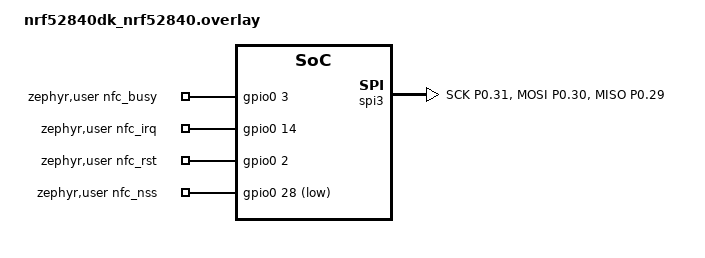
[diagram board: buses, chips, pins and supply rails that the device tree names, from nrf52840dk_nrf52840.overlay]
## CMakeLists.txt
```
cmake_minimum_required(VERSION 3.20.0)
find_package(Zephyr REQUIRED HINTS $ENV{ZEPHYR_BASE})

project(pn5180)

# Add source files
target_sources(app PRIVATE
    src/main.c
    src/pn5180.c
    include/pn5180.h
)

# Add include directory for headers
target_include_directories(app PRIVATE
    ${CMAKE_CURRENT_SOURCE_DIR}/include
)
```

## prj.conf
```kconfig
# SPI Configuration
CONFIG_SPI=y

# GPIO Configuration
CONFIG_GPIO=y

# Logging
CONFIG_LOG=y
CONFIG_SHELL=y
CONFIG_LOG_DEFAULT_LEVEL=3

# Enable button for testing

CONFIG_SPI_ASYNC=y

CONFIG_SPI_SLAVE=y
```

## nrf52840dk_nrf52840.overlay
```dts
&pinctrl {
	spi_master_default: spi_master_default {
		group1 {
			psels = <NRF_PSEL(SPIM_SCK, 0, 31)>,
					<NRF_PSEL(SPIM_MOSI, 0, 30)>,
					<NRF_PSEL(SPIM_MISO, 0, 29)>;
		};
	};

	spi_master_sleep: spi_master_sleep {
		group1 {
			psels = <NRF_PSEL(SPIM_SCK, 0, 31)>,
					<NRF_PSEL(SPIM_MOSI, 0, 30)>,
					<NRF_PSEL(SPIM_MISO, 0, 29)>;
			low-power-enable;
		};
	};

};

my_spi_master: &spi3 {
	compatible = "nordic,nrf-spim";
	status = "okay";
	pinctrl-0 = <&spi_master_default>;
	pinctrl-1 = <&spi_master_sleep>;
	pinctrl-names = "default", "sleep";
	// reg_my_spi_master: spi-dev-a@0 {
	// 	reg = <0>;
    //     status = "okay";
	// };
};



// By default uart1 will occupy P1.01 and P1.02. In order to make these pins available, disable uart1
&uart1 {
	status="disabled";
};
/ {
	zephyr,user {
		nfc_busy-gpios = <&gpio0 3 GPIO_ACTIVE_HIGH>;
		nfc_irq-gpios = <&gpio0 14 GPIO_ACTIVE_HIGH>;
		nfc_rst-gpios = <&gpio0 2 GPIO_ACTIVE_HIGH>;
		nfc_nss-gpios = <&gpio0 28 GPIO_ACTIVE_LOW>;

	}; 
};
	
```

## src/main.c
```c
#include "pn5180.h"
#include <zephyr/kernel.h>
#include <zephyr/logging/log.h>

LOG_MODULE_REGISTER(main, LOG_LEVEL_INF);

int main(void) {
  LOG_INF("PN5180 ISO15693 Inventory Test Starting...");

  /* 1. Initialize PN5180 GPIO + SPI */
  pn5180_init();

  /* 2. Optional: run GPIO test pattern to verify pins */

  /* 3. Prepare buffer for tag UID */
  uint8_t uid[8] = {0};

  /* 4. Perform ISO15693 inventory */

  LOG_INF("PN5180 ISO15693 test complete.");

  /* 6. Heartbeat loop */
  while (1) {
    // k_msleep(1000);
    if (pn5180_get_inventory(uid)) {
      LOG_INF("Tag detected! UID:");
      LOG_HEXDUMP_INF(uid, sizeof(uid), "UID");
    } else {
      LOG_WRN("No tag detected.");
    }
  }
}
```

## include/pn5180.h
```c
#ifndef PN5180_H
#define PN5180_H

#include <zephyr/device.h>
#include <zephyr/drivers/gpio.h>
#include <zephyr/drivers/spi.h>
#include <zephyr/kernel.h>

#define PN5180_COMMAND_TIMEOUT_MS 800

// PN5180 Commands
// PN5180 defines
// See https://www.nxp.com/docs/en/data-sheet/PN5180A0XX-C1-C2.pdf
// 11.4.3.3 Host Interface Command List
#define PN5180_WRITE_REGISTER (0x00)
#define PN5180_WRITE_REGISTER_OR_MASK (0x01)
#define PN5180_WRITE_REGISTER_AND_MASK (0x02)
#define PN5180_READ_REGISTER (0x04)
#define PN5180_WRITE_EEPROM (0x06)
#define PN5180_READ_EEPROM (0x07)
#define PN5180_SEND_DATA (0x09)
#define PN5180_READ_DATA (0x0A)
#define PN5180_LOAD_RF_CONFIG (0x11)
#define PN5180_RF_ON (0x16)
#define PN5180_RF_OFF (0x17)
// 11.9.1, Table 73 PN5180 Register Address Overview
#define SYSTEM_CONFIG (0x00)
#define IRQ_ENABLE (0x01)
#define IRQ_STATUS (0x02)
#define IRQ_CLEAR (0x03)
#define RX_STATUS (0x13)
#define TX_WAIT_CONFIG (0x17)
#define TX_CONFIG (0x18)
// 11.9.1, Table 76 IRQ_STATUS Register
#define RX_IRQ_STAT (1 << 0)        // End of RF reception IRQ
#define TX_IRQ_STAT (1 << 1)        // End of RF transmission IRQ
#define IDLE_IRQ_STAT (1 << 2)      // Idle IRQ
#define RFOFF_DET_IRQ_STAT (1 << 6) // RF Field OFF detection IRQ
#define RFON_DET_IRQ_STAT (1 << 7)  // RF Field ON detection IRQ
#define TX_RFOFF_IRQ_STAT (1 << 8)  // RF Field OFF in PCD IRQ
#define TX_RFON_IRQ_STAT (1 << 9)   // RF Field ON in PCD IRQ
// 11.9.1 Table 92 RX_STATUS Register
#define RX_COLL_POS                                                            \
  (1 << 19) // These bits show the bit position of the first detected collision
            // in a received frame (7 bits)
#define RX_COLLISION_DETECTED                                                  \
  (1 << 18) // This flag is set to 1, when a collision has occurred
// 11.9.1 Table 97 TX_CONFIG Register
#define TX_DATA_ENABLE                                                         \
  (1 << 10) // If set to 1, transmission of data is enabled otherwise only
            // symbols are transmitted.
#define MAX_RX_LENGTH 508
// The PN5180 receive buffer can hold a max of 508 bytes
// But we only need to transfer 2 bytes + 8 bytes per tag = 10 bytes for a
// single card
#ifndef READ_BUFFER_SIZE
#define READ_BUFFER_SIZE 10
#endif

struct pn5180_cfg {
  const struct device *spi_dev;
  struct spi_config spi_cfg;
  const struct gpio_dt_spec irq;
  const struct gpio_dt_spec rst;
  const struct gpio_dt_spec busy;
  const struct gpio_dt_spec nss;
};

/* Public function prototypes */
int pn5180_gpio_init(void);
#endif
```

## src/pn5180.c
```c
#include "pn5180.h"
#include <zephyr/device.h>
#include <zephyr/drivers/gpio.h>
#include <zephyr/drivers/spi.h>
#include <zephyr/kernel.h>
#include <zephyr/logging/log.h>

LOG_MODULE_REGISTER(pn5180, LOG_LEVEL_INF);

#define MY_SPI_MASTER DT_NODELABEL(my_spi_master)
#define ZEPHYR_USER_NODE DT_PATH(zephyr_user)

static struct spi_cs_control pn5180_cs = {
    .gpio = GPIO_DT_SPEC_GET(ZEPHYR_USER_NODE, nfc_nss_gpios),
    .delay = 5,
};

static struct pn5180_cfg nfc_dev = {
    .spi_dev = DEVICE_DT_GET(MY_SPI_MASTER),
    .spi_cfg =
        {
            .operation = SPI_WORD_SET(8) | SPI_TRANSFER_MSB, // Mode 0
            .frequency = 4000000,
            .slave = 0,
            .cs = NULL, // manual CS
        },
    .irq = GPIO_DT_SPEC_GET(ZEPHYR_USER_NODE, nfc_irq_gpios),
    .rst = GPIO_DT_SPEC_GET(ZEPHYR_USER_NODE, nfc_rst_gpios),
    .busy = GPIO_DT_SPEC_GET(ZEPHYR_USER_NODE, nfc_busy_gpios),
};

// Assert CS
static inline void cs_low(void) { gpio_pin_set_dt(&pn5180_cs.gpio, 1); }
// Deassert CS
static inline void cs_high(void) { gpio_pin_set_dt(&pn5180_cs.gpio, 0); }

void pn5180_reset(void) {
  gpio_pin_set_dt(&nfc_dev.rst, 0); //  LOW
  k_msleep(10);
  gpio_pin_set_dt(&nfc_dev.rst, 1); //  HIGH
  k_msleep(50);
}

void pn5180_init(void) {
  // SPI device check
  if (!device_is_ready(nfc_dev.spi_dev)) {
    LOG_ERR("SPI device not ready");
    return;
  }

  // Configure CS
  if (device_is_ready(pn5180_cs.gpio.port)) {
    gpio_pin_configure_dt(&pn5180_cs.gpio, GPIO_OUTPUT_HIGH);
  } else {
    LOG_ERR("CS GPIO not ready");
    return;
  }

  // Configure RST
  if (device_is_ready(nfc_dev.rst.port)) {
    gpio_pin_configure_dt(&nfc_dev.rst, GPIO_OUTPUT_HIGH);
  } else {
    LOG_ERR("RST GPIO not ready");
  }

  // Configure IRQ
  if (device_is_ready(nfc_dev.irq.port)) {
    gpio_pin_configure_dt(&nfc_dev.irq, GPIO_INPUT);
  } else {
    LOG_ERR("IRQ GPIO not ready");
  }

  // Configure BUSY
  if (device_is_ready(nfc_dev.busy.port)) {
    gpio_pin_configure_dt(&nfc_dev.busy, GPIO_INPUT);
  } else {
    LOG_ERR("BUSY GPIO not ready");
  }

  // NSS HIGH
  cs_high();

  // RST HIGH
  gpio_pin_set_dt(&nfc_dev.rst, 1); //  HIGH

  pn5180_reset();
}

/* --- Init/reset --------------------------------------------------------- */
int pn5180_test_gpios(void) {
  LOG_INF("Starting PN5180 GPIO test pattern");

  /* Ensure reset high initially */
  gpio_pin_set_dt(&nfc_dev.rst, 1);
  cs_high();
  k_msleep(20);

  /* --- Reset pin pattern (RST) --- */
  // Pulse train: short, medium, long
  gpio_pin_set_dt(&nfc_dev.rst, 0);
  k_msleep(5);
  gpio_pin_set_dt(&nfc_dev.rst, 1);
  k_msleep(10);

  gpio_pin_set_dt(&nfc_dev.rst, 0);
  k_msleep(20);
  gpio_pin_set_dt(&nfc_dev.rst, 1);
  k_msleep(10);

  gpio_pin_set_dt(&nfc_dev.rst, 0);
  k_msleep(50);
  gpio_pin_set_dt(&nfc_dev.rst, 1);
  k_msleep(20);

  /* --- CS pin pattern (NSS) --- */
  // Repeating fast square wave
  for (int i = 0; i < 8; i++) {
    cs_low();
    k_msleep(5);
    cs_high();
    k_msleep(5);
  }

  /* --- Mixed toggle sequence --- */
  for (int i = 0; i < 20; i++) {
    gpio_pin_set_dt(&nfc_dev.rst, (i % 2));
    cs_low();
    k_msleep(10);
    cs_high();
    k_msleep(10);
  }
  cs_low();
  gpio_pin_set_dt(&nfc_dev.rst, 0);

  LOG_INF("PN5180 GPIO test pattern complete");
  return 0;
}

/* --- Basic SPI write ---------------------------------------------------- */
int pn5180_spi_write(const uint8_t *data, size_t len) {
  struct spi_buf tx_buf = {
      .buf = (void *)data,
      .len = len,
  };
  struct spi_buf_set tx_set = {
      .buffers = &tx_buf,
      .count = 1,
  };

  int ret = spi_write(nfc_dev.spi_dev, &nfc_dev.spi_cfg, &tx_set);
  if (ret) {
    LOG_ERR("pn5180_spi_write failed: %d", ret);
    return ret;
  }

  LOG_DBG("pn5180_spi_write OK, %u bytes", len);
  return 0;
}

int pn5180_spi_transceive(const uint8_t *tx_data, size_t tx_len,
                          uint8_t *rx_data, size_t rx_len) {
  struct spi_buf tx_buf = {
      .buf = (void *)tx_data,
      .len = tx_len,
  };
  struct spi_buf rx_buf = {
      .buf = rx_data,
      .len = rx_len,
  };

  struct spi_buf_set tx_set = {
      .buffers = &tx_buf,
      .count = 1,
  };
  struct spi_buf_set rx_set = {
      .buffers = &rx_buf,
      .count = 1,
  };

  int ret = spi_transceive(nfc_dev.spi_dev, &nfc_dev.spi_cfg, &tx_set, &rx_set);
  if (ret) {
    LOG_ERR("pn5180_spi_transceive failed: %d", ret);
    return ret;
  }

  LOG_DBG("pn5180_spi_transceive OK, tx=%u, rx=%u", tx_len, rx_len);
  return 0;
}

static bool wait_until_available(k_timeout_t timeout) {
  int64_t deadline = k_uptime_get() + k_ticks_to_ms_floor64(timeout.ticks);

  while (gpio_pin_get_dt(&nfc_dev.busy)) {
    if (k_uptime_get() > deadline) {
      LOG_ERR("Timeout: PN5180 still busy (expected LOW)");
      return false;
    }
    k_msleep(50); // poll every 50 µs
  }
  return true;
}

static bool wait_until_busy(k_timeout_t timeout) {
  int64_t deadline = k_uptime_get() + k_ticks_to_ms_floor64(timeout.ticks);

  while (!gpio_pin_get_dt(&nfc_dev.busy)) {
    if (k_uptime_get() > deadline) {
      LOG_ERR("Timeout: PN5180 never went busy (expected HIGH)");
      return false;
    }
    k_msleep(50);
  }
  return true;
}

bool pn5180_spi_send_bytes(uint8_t *send_buf, size_t send_len) {
  int ret;

  // 0. Wait until available
  if (!wait_until_available(K_MSEC(50))) {
    cs_high();
    return false;
  }

  // 1. Assert NSS
  cs_low();
  // k_msleep(5);

  // 2. SPI write
  struct spi_buf tx_buf = {.buf = send_buf, .len = send_len};
  struct spi_buf_set tx_set = {.buffers = &tx_buf, .count = 1};
  ret = spi_write(nfc_dev.spi_dev, &nfc_dev.spi_cfg, &tx_set);
  if (ret) {
    LOG_ERR("spi_write failed: %d", ret);
    return false;
  }

  // 3. Wait until BUSY = 1
  if (!wait_until_busy(K_MSEC(50))) {
    cs_high();
    return false;
  }

  // 4. Deassert NSS
  cs_high();
  // k_msleep(5);

  // 5. Wait until BUSY = 0
  if (!wait_until_available(K_MSEC(50))) {
    cs_high();
    return false;
  }
  cs_high();

  return true;
}

bool pn5180_spi_read_bytes(uint8_t *recv_buf, size_t recv_len) {
  int ret;

  // 0. Clear buffer
  memset(recv_buf, 0x00, recv_len);

  // 1. Wait until PN5180 is available (BUSY = 0)
  if (!wait_until_available(K_MSEC(50))) {
    cs_high();
    return false;
  }

  // 2. Assert NSS (manual CS)
  // 1. Assert NSS
  cs_low();
  // k_msleep(5); // small guard delay

  // 3. SPI transfer (read)
  struct spi_buf rx_buf = {.buf = recv_buf, .len = recv_len};
  struct spi_buf_set rx_set = {.buffers = &rx_buf, .count = 1};
  ret = spi_read(nfc_dev.spi_dev, &nfc_dev.spi_cfg, &rx_set);
  if (ret) {
    LOG_ERR("SPI read failed: %d", ret);
    return false;
  }

  if (!wait_until_busy(K_MSEC(50))) {
    cs_high();
    return false;
  }

  // 4. Deassert NSS
  cs_high();
  k_msleep(5);

  // 5. Wait until BUSY = 0
  if (!wait_until_available(K_MSEC(50))) {
    cs_high();
    return false;
  }
  cs_high();

  return true;
}

bool pn5180_read_register(uint8_t reg_addr, uint32_t *reg_value) {
  uint8_t cmd[] = {PN5180_READ_REGISTER, reg_addr};
  uint8_t buf[4];

  // 1. Send READ_REGISTER command + register address
  if (!pn5180_spi_send_bytes(cmd, sizeof(cmd))) {
    LOG_ERR("Failed to send READ_REGISTER command");
    return false;
  }

  // 2. Read 4-byte register value
  if (!pn5180_spi_read_bytes(buf, sizeof(buf))) {
    LOG_ERR("Failed to read register value");
    return false;
  }

  // 3. Copy bytes into uint32_t (assume little-endian)
  memcpy(reg_value, buf, sizeof(buf));

  LOG_DBG("Read register 0x%02X = 0x%08X", reg_addr, *reg_value);
  return true;
}

int pn5180_clear_irq(void) {
  uint8_t cmd[] = {PN5180_WRITE_REGISTER, IRQ_CLEAR, 0xFF, 0xFF, 0x0F, 0x00};

  if (!pn5180_spi_send_bytes(cmd, sizeof(cmd))) {
    LOG_ERR("Failed to clear IRQ_STATUS");
    return -EIO;
  }

  LOG_DBG("IRQ_STATUS cleared");
  return 0;
}
int pn5180_load_iso15693_config(void) {
  uint8_t cmd[] = {PN5180_LOAD_RF_CONFIG, 0x0D, 0x8D};

  if (!pn5180_spi_send_bytes(cmd, sizeof(cmd))) {
    LOG_ERR("Failed to load ISO15693 RF config");
    return -EIO;
  }
  LOG_DBG("ISO15693 RF config loaded");
  return 0;
}

/* Set the PN5180 into IDLE state */
int pn5180_set_idle(void) {
  uint8_t cmd[] = {
      PN5180_WRITE_REGISTER_AND_MASK, SYSTEM_CONFIG, 0xF8, 0xFF, 0xFF, 0xFF};

  if (!pn5180_spi_send_bytes(cmd, sizeof(cmd))) {
    LOG_ERR("Failed to set IDLE state");
    return -EIO;
  }
  LOG_DBG("PN5180 set to IDLE");
  return 0;
}

/* Activate TRANSCEIVE routine */
int pn5180_activate_transceive(void) {
  uint8_t cmd[] = {
      PN5180_WRITE_REGISTER_OR_MASK, SYSTEM_CONFIG, 0x03, 0x00, 0x00, 0x00};

  if (!pn5180_spi_send_bytes(cmd, sizeof(cmd))) {
    LOG_ERR("Failed to activate TRANSCEIVE");
    return -EIO;
  }
  LOG_DBG("PN5180 TRANSCEIVE activated");
  return 0;
}

int pn5180_send_inventory_cmd(void) {
  uint8_t cmd[] = {
      PN5180_SEND_DATA,
      0x00, // framing / reserved
      0x06, // ISO15693 command length?
      0x01, // Inventory command code
      0x00  // flags / options
  };

  if (!pn5180_spi_send_bytes(cmd, sizeof(cmd))) {
    LOG_ERR("Failed to send ISO15693 Inventory command");
    return -EIO;
  }

  LOG_DBG("ISO15693 Inventory command sent");
  return 0;
}

int pn5180_activate_rf(void) {
  uint8_t cmd[] = {PN5180_RF_ON, 0x00};

  // 1. Send RF_ON command
  if (!pn5180_spi_send_bytes(cmd, sizeof(cmd))) {
    LOG_ERR("Failed to send RF_ON command");
    return -EIO;
  }

  // 2. Wait until TX_RFON_IRQ_STAT is set (timeout 500 ms)
  int64_t start_time = k_uptime_get();
  uint32_t irq_status = 0;

  while (1) {
    if (!pn5180_read_register(IRQ_STATUS, &irq_status)) {
      LOG_ERR("Failed to read IRQ_STATUS");
      return -EIO;
    }

    if (irq_status & TX_RFON_IRQ_STAT) {
      break; // RF_ON confirmed
    }

    if ((k_uptime_get() - start_time) > 500) {
      LOG_ERR("Timeout waiting for TX_RFON_IRQ_STAT");
      return -ETIMEDOUT;
    }

    k_msleep(5); // small poll delay
  }

  // 3. Clear the RF_ON bit in IRQ_STATUS
  uint32_t reg_value = TX_RFON_IRQ_STAT;
  uint8_t cmd_clear[] = {PN5180_WRITE_REGISTER,    IRQ_CLEAR,
                         (reg_value >> 24) & 0xFF, (reg_value >> 16) & 0xFF,
                         (reg_value >> 8) & 0xFF,  (reg_value & 0xFF)};

  if (!pn5180_spi_send_bytes(cmd_clear, sizeof(cmd_clear))) {
    LOG_ERR("Failed to clear RF_ON IRQ bit");
    return -EIO;
  }

  LOG_DBG("RF activated successfully");
  return 0;
}

int pn5180_disable_rf(void) {
  uint8_t cmd[] = {PN5180_RF_OFF, 0x00};

  // 1. Send RF_OFF command
  if (!pn5180_spi_send_bytes(cmd, sizeof(cmd))) {
    LOG_ERR("Failed to send RF_OFF command");
    return -EIO;
  }

  // 2. Wait until TX_RFOFF_IRQ_STAT is set (timeout 500 ms)
  int64_t start_time = k_uptime_get();
  uint32_t irq_status = 0;

  while (1) {
    if (!pn5180_read_register(IRQ_STATUS, &irq_status)) {
      LOG_ERR("Failed to read IRQ_STATUS");
      return -EIO;
    }

    if (irq_status & TX_RFOFF_IRQ_STAT) {
      break; // RF_OFF confirmed
    }

    if ((k_uptime_get() - start_time) > 500) {
      LOG_ERR("Timeout waiting for TX_RFOFF_IRQ_STAT");
      return -ETIMEDOUT;
    }

    k_msleep(5); // small poll delay
  }

  // 3. Clear the RF_OFF bit in IRQ_STATUS
  uint32_t reg_value = TX_RFOFF_IRQ_STAT;
  uint8_t *reg_bytes = (uint8_t *)&reg_value;
  uint8_t cmd_clear[] = {PN5180_WRITE_REGISTER, IRQ_CLEAR,    reg_bytes[0],
                         reg_bytes[1],          reg_bytes[2], reg_bytes[3]};

  if (!pn5180_spi_send_bytes(cmd_clear, sizeof(cmd_clear))) {
    LOG_ERR("Failed to clear RF_OFF IRQ bit");
    return -EIO;
  }

  LOG_DBG("RF deactivated successfully");
  return 0;
}

int pn5180_read_eeprom(uint8_t start_addr, uint8_t *buffer, size_t length) {
  if (!buffer || length == 0) {
    return -EINVAL;
  }

  // 1. Build the READ_EEPROM command
  uint8_t cmd[] = {PN5180_READ_EEPROM, start_addr, (uint8_t)length};

  // 2. Send the command
  if (!pn5180_spi_send_bytes(cmd, sizeof(cmd))) {
    LOG_ERR("Failed to send READ_EEPROM command");
    return -EIO;
  }

  // 3. Read the EEPROM data
  if (!pn5180_spi_read_bytes(buffer, length)) {
    LOG_ERR("Failed to read EEPROM data");
    return -EIO;
  }

  LOG_DBG("Read %d EEPROM bytes from 0x%02X", length, start_addr);
  return 0;
}

int pn5180_send_end_of_frame(void) {
  // 1. Configure TX to only send EOF symbol
  uint8_t cmd_cfg[] = {PN5180_WRITE_REGISTER_AND_MASK,
                       TX_CONFIG,
                       0b00111111,
                       0b11111011,
                       0xFF,
                       0xFF};

  if (!pn5180_spi_send_bytes(cmd_cfg, sizeof(cmd_cfg))) {
    LOG_ERR("Failed to configure TX for EOF");
    return -EIO;
  }

  // 2. Trigger SEND_DATA with no payload
  uint8_t cmd_send[] = {PN5180_SEND_DATA, 0x00};

  if (!pn5180_spi_send_bytes(cmd_send, sizeof(cmd_send))) {
    LOG_ERR("Failed to send EOF symbol");
    return -EIO;
  }

  LOG_DBG("EOF symbol sent successfully");
  return 0;
}
bool pn5180_read_reception_buffer(uint8_t *buffer, int16_t len) {
  if (!buffer || len <= 0 || len > MAX_RX_LENGTH) {
    LOG_ERR("Invalid read length request (%d bytes)", len);
    return false;
  }

  // 1. Send READ_DATA command
  uint8_t cmd_read[] = {PN5180_READ_DATA, 0x00};
  if (!pn5180_spi_send_bytes(cmd_read, sizeof(cmd_read))) {
    LOG_ERR("Failed to send READ_DATA command");
    return false;
  }

  // 2. Read reception buffer
  if (!pn5180_spi_read_bytes(buffer, len)) {
    LOG_ERR("Failed to read reception buffer");
    return false;
  }

  LOG_DBG("Read %d bytes from reception buffer", len);
  return true;
}

bool pn5180_get_inventory(uint8_t *uid) {
  if (!uid)
    return false;

  uint8_t buffer[READ_BUFFER_SIZE];
  bool tag_detected = false;

  // 1. Load ISO15693 protocol into RF registers
  pn5180_load_iso15693_config();

  // 2. Switch RF ON
  if (pn5180_activate_rf() != 0)
    return false;

  // 3. Clear IRQ_STATUS
  pn5180_clear_irq();

  // 4. Set IDLE
  pn5180_set_idle();

  // 5. Activate TRANSCEIVE routine
  pn5180_activate_transceive();

  // 6. Send inventory command
  pn5180_send_inventory_cmd();

  // 7. Loop over all 16 time slots
  for (int slot = 0; slot < 16 && !tag_detected; slot++) {
    k_yield(); // prevent watchdog timeout

    // 8. Read RX_STATUS register (4 bytes)
    uint32_t rx_status = 0;
    if (!pn5180_read_register(RX_STATUS, &rx_status)) {
      LOG_ERR("Failed to read RX_STATUS");
      break;
    }

    // Number of bytes received = lower 9 bits
    uint16_t len = (uint16_t)(rx_status & 0x01FF);
    if (len > READ_BUFFER_SIZE)
      len = READ_BUFFER_SIZE;

    if (len > 0) {
      // 9. Read reception buffer
      if (!pn5180_read_reception_buffer(buffer, len)) {
        LOG_ERR("Invalid response");
        continue;
      }

      // 10. First byte = flags, 0x00 = no error
      if (buffer[0] == 0x00) {
        // Reverse the UID bytes to match MSB-first
        uint8_t *raw_uid = &buffer[2];
        for (int i = 0; i < 8; i++) {
          uid[i] = raw_uid[7 - i];
        }
        tag_detected = true;
        break;
      }
      // 11. Error flag set
      else if (buffer[0] & 0x01) {
        uint8_t error_code = buffer[1];
        // pn5180_handle_error((ISO15693ErrorCode)error_code);
      }
    }

    // 12-15. Prepare for next time slot (if any)
    if (slot < 15) {
      pn5180_set_idle();
      pn5180_activate_transceive();
      pn5180_clear_irq();
      pn5180_send_end_of_frame();
    }
  }

  // 16. Switch RF field off
  pn5180_disable_rf();

  return tag_detected;
}
```
